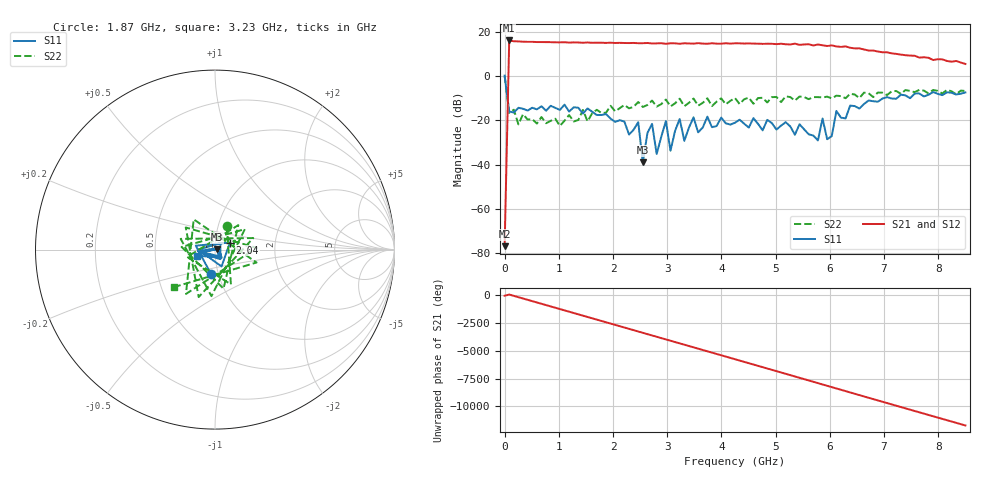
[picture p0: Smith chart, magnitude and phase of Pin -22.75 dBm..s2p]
! RsaToolbox (C) 2013 Rohde & Schwarz America
! Number of points: 101
! Number of ports: 2
! Balanced ports?: 0
# Hz S RI R 50
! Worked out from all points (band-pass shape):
!   101 points, 9 kHz to 8.5 GHz, reference 50 ohm
!   highest |S21| = 16.10 dB at 85.01 MHz (marker M1); lowest = -76.9 dB at 9 kHz (marker M2)
!   |S21| within 3 dB of the highest: 82.27 MHz to 6.333 GHz (6.251 GHz wide, 195 % of centre)
!   lowest |S11| = -39.0 dB at 2.55 GHz (marker M3), VSWR 1.02, Z = 51.1 + j0.237 ohm
!   |S11| at or under -10 dB: 53.63 MHz to 6.99 GHz (6.937 GHz wide, 197 % of centre); 7.121 GHz to 7.236 GHz (114.9 MHz wide, 1.6 % of centre)
!   |S22| runs from -22.5 to 0.2 dB; largest |S21 - S12| = 0
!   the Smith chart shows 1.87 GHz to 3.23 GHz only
!   S11 on the Smith chart (normalised r, x): 1.87 GHz: 0.92, -0.26; 2.04 GHz: 1.18, +0.09; 3.23 GHz: 0.81, -0.06
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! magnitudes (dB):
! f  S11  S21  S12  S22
! 9 kHz  0.2  -76.9  -76.9  0.2
! 85.01 MHz  -16.0  16.1  16.1  -16.6
! 1.02 GHz  -15.3  15.2  15.2  -22.5
! 1.445 GHz  -16.9  15.1  15.1  -15.3
! 1.87 GHz  -17.2  15.0  15.0  -16.6
! 2.04 GHz  -20.7  15.0  15.0  -15.9
! 2.465 GHz  -20.9  14.8  14.8  -11.7
! 2.55 GHz  -39.0  14.9  14.9  -14.0
! 2.72 GHz  -21.6  14.7  14.7  -11.1
! 2.805 GHz  -35.2  14.8  14.8  -13.8
! 2.89 GHz  -27.4  14.9  14.9  -12.7
! 2.975 GHz  -20.3  14.6  14.6  -10.6
! 3.06 GHz  -33.7  14.8  14.8  -13.7
! 3.23 GHz  -19.4  14.6  14.6  -10.2
! 3.315 GHz  -29.3  14.8  14.8  -13.6
! 3.485 GHz  -18.7  14.7  14.7  -10.1
! 3.57 GHz  -25.4  14.9  14.9  -13.4
! 4.25 GHz  -21.1  14.8  14.8  -9.9
! 5.695 GHz  -26.9  13.8  13.8  -9.5
! 6.12 GHz  -15.8  13.4  13.4  -8.9
! 7.14 GHz  -10.1  10.3  10.3  -6.9
! 8.5 GHz  -7.4  5.5  5.5  -6.7
